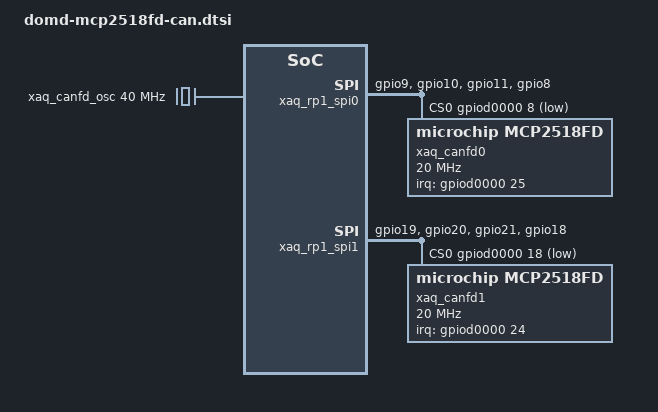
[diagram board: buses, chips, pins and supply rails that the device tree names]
// SPDX-License-Identifier: Apache-2.0
// Copyright (c) 2026 Xaloqi
//
// Appended to SoDeV's DomD partial DT (bcm2712-raspberrypi5-domd-vc4.dts) by
// domd-vc4.bbappend when XAQ_CAN_HAT = "mcp2518fd": the Waveshare 2-CH CAN FD
// HAT (two MCP2518FD, one on RP1 SPI0 and one on RP1 SPI1) as DomD's can0/can1.
// The classic HAT (two MCP2515 on SPI0) is domd-mcp2515-can.dtsi; only one of the
// two is ever appended.
//
// No Xen change is needed, as for the classic HAT. DomD owns the whole RP1
// peripheral window through the pcie2 xen,reg aperture (host 0x1f_00000000,
// 16 MiB): SPI0 is RP1 +0x50000, SPI1 is RP1 +0x54000, the GPIO bank +0xd0000.
// Both SPI interrupts (RP1 IRQ 19 and 20) and the GPIO bank's are RP1-internal
// (its irqchip, then MSI-X through the MIP, whose SPIs are DomD's). Nothing else
// in SoDeV's DomD DT uses GPIO 8-11 or 18-25 (the uart0 pins in it are the
// BCM2712's own, through SCMI, not RP1's).
//
// Values, and where they come from:
//  - Board "Rev2.1" (MCP2518FD; older boards have the MCP2517FD, same driver),
//    default "Dual SPI Mode" (Waveshare wiki 2-CH_CAN_FD_HAT, fetched
//    2026-11-01): CAN_0 = SPI0 CE0 (GPIO8), INT GPIO25; CAN_1 = SPI1 CE0 (GPIO18),
//    INT GPIO24; SPI1 MISO/MOSI/SCLK = GPIO19/20/21. The wiki's config.txt:
//    "dtoverlay=spi1-3cs", "dtoverlay=mcp251xfd,spi0-0,interrupt=25",
//    "dtoverlay=mcp251xfd,spi1-0,interrupt=24".
//  - 40 MHz crystal per controller, MCP2562FD transceivers: the Rev2.1 schematic
//    (X1/X2 "40MHz"). The kernel's mcp251xfd overlay uses the same 40 MHz.
//  - 20 MHz SPI clock: the wiki ("as high as 20MHz") and the mcp251xfd overlay.
//    The DesignWare SSI divides RP1_CLK_SYS (200 MHz) by 10.
//  - SPI nodes: copied from the kernel's rp1.dtsi (snps,dw-apb-ssi, regs 0x130,
//    RP1_INT_SPI0 = 19, RP1_INT_SPI1 = 20, RP1_CLK_SYS = clocks18000 index 0x0c).
//    No DMA, as for the classic HAT: PIO keeps RP1's DMA engine out of the
//    bring-up. mcp251xfd moves at most a 76-byte frame per transfer.
//  - CS by GPIO, as the kernel's spi0/spi1 overlays do.

&gpiod0000 {
	xaq_spi0_pins: xaq_spi0_pins {
		function = "spi0";
		pins = "gpio9", "gpio10", "gpio11";
		drive-strength = <12>;
		bias-disable;
	};
	xaq_spi0_cs_pins: xaq_spi0_cs_pins {
		function = "gpio";
		pins = "gpio8";
		bias-pull-up;
	};
	xaq_spi1_pins: xaq_spi1_pins {
		function = "spi1";
		pins = "gpio19", "gpio20", "gpio21";
		drive-strength = <12>;
		bias-disable;
	};
	xaq_spi1_cs_pins: xaq_spi1_cs_pins {
		function = "gpio";
		pins = "gpio18";
		bias-pull-up;
	};
	xaq_canfd0_int: xaq_canfd0_int {
		function = "gpio";
		pins = "gpio25";
		bias-pull-up;
	};
	xaq_canfd1_int: xaq_canfd1_int {
		function = "gpio";
		pins = "gpio24";
		bias-pull-up;
	};
};

// Under /passthrough: dom0less copies only that subtree into DomD's DT.
&passthrough {
	xaq_canfd_osc: xaq-canfd-osc {
		compatible = "fixed-clock";
		#clock-cells = <0>;
		clock-frequency = <40000000>;
	};
};

&rp1 {
	xaq_rp1_spi0: spi@c040050000 {
		compatible = "snps,dw-apb-ssi";
		reg = <0xc0 0x40050000 0x0 0x130>;
		interrupts = <0x13 0x4>;
		clocks = <&clocks18000 0x0c>;
		clock-names = "ssi_clk";
		num-cs = <1>;
		cs-gpios = <&gpiod0000 8 1>;
		pinctrl-names = "default";
		pinctrl-0 = <&xaq_spi0_pins &xaq_spi0_cs_pins>;
		#address-cells = <1>;
		#size-cells = <0>;
		status = "okay";

		xaq_canfd0: can@0 {
			compatible = "microchip,mcp2518fd";
			reg = <0>;
			spi-max-frequency = <20000000>;
			clocks = <&xaq_canfd_osc>;
			interrupt-parent = <&gpiod0000>;
			interrupts = <25 0x8>;	/* IRQ_TYPE_LEVEL_LOW */
			pinctrl-names = "default";
			pinctrl-0 = <&xaq_canfd0_int>;
		};
	};

	xaq_rp1_spi1: spi@c040054000 {
		compatible = "snps,dw-apb-ssi";
		reg = <0xc0 0x40054000 0x0 0x130>;
		interrupts = <0x14 0x4>;
		clocks = <&clocks18000 0x0c>;
		clock-names = "ssi_clk";
		num-cs = <1>;
		cs-gpios = <&gpiod0000 18 1>;
		pinctrl-names = "default";
		pinctrl-0 = <&xaq_spi1_pins &xaq_spi1_cs_pins>;
		#address-cells = <1>;
		#size-cells = <0>;
		status = "okay";

		xaq_canfd1: can@0 {
			compatible = "microchip,mcp2518fd";
			reg = <0>;
			spi-max-frequency = <20000000>;
			clocks = <&xaq_canfd_osc>;
			interrupt-parent = <&gpiod0000>;
			interrupts = <24 0x8>;	/* IRQ_TYPE_LEVEL_LOW */
			pinctrl-names = "default";
			pinctrl-0 = <&xaq_canfd1_int>;
		};
	};
};
